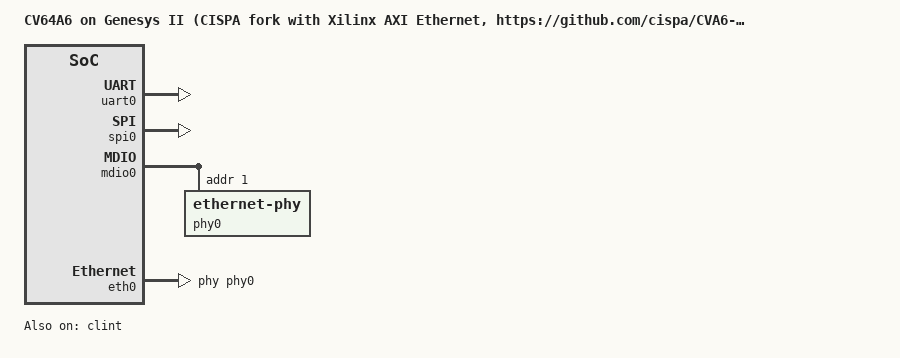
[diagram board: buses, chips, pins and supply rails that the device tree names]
/*
 * Copyright (c) 2024 CISPA Helmholtz Center for Information Security gGmbH
 *
 * SPDX-License-Identifier: Apache-2.0
 */
/dts-v1/;

#include <openhwgroup/cv64a6.dtsi>

/ {
	model = "CV64A6 on Genesys II (CISPA fork with Xilinx AXI Ethernet, https://github.com/cispa/CVA6-Vivado-Project-with-Xilinx-AXI-Ethernet/tree/main)";
	compatible = "ariane,cv64a6_genesysII";

	chosen {
		zephyr,console = &uart0;
		zephyr,shell-uart = &uart0;
		zephyr,sram = &memory0;
	};
};

&uart0 {
	status = "okay";
};

&spi0 {
	status = "okay";
};

&clint{
	status = "okay";
};

&dma0 {
	status = "okay";
};



&mdio0{
	status = "okay";

	phy0: phy@1 {
		#address-cells = <1>;
		#size-cells = <0>;
		compatible = "ethernet-phy";
		reg = <1 1>;
		status="okay";
	};
};

&eth0 {
	status = "okay";
	phy-handle=<&phy0>;
};
